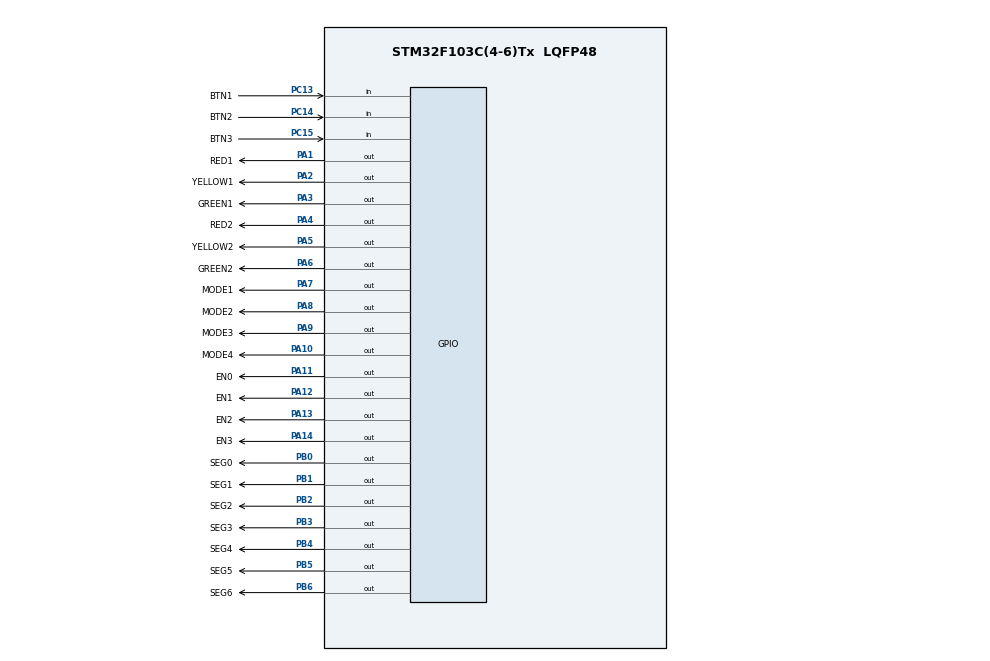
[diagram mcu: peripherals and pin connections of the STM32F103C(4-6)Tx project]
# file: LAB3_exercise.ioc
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Mcu.Family=STM32F1
Mcu.Name=STM32F103C(4-6)Tx
Mcu.Package=LQFP48
NVIC.PriorityGroup=NVIC_PRIORITYGROUP_4
NVIC.TIM2_IRQn=true\:0\:0\:false\:false\:true\:true\:true
PA1.GPIO_Label=RED1
PA1.Signal=GPIO_Output
PA10.GPIO_Label=MODE4
PA10.Signal=GPIO_Output
PA11.GPIO_Label=EN0
PA11.Signal=GPIO_Output
PA12.GPIO_Label=EN1
PA12.Signal=GPIO_Output
PA13.GPIO_Label=EN2
PA13.Signal=GPIO_Output
PA14.GPIO_Label=EN3
PA14.Signal=GPIO_Output
PA2.GPIO_Label=YELLOW1
PA2.Signal=GPIO_Output
PA3.GPIO_Label=GREEN1
PA3.Signal=GPIO_Output
PA4.GPIO_Label=RED2
PA4.Signal=GPIO_Output
PA5.GPIO_Label=YELLOW2
PA5.Signal=GPIO_Output
PA6.GPIO_Label=GREEN2
PA6.Signal=GPIO_Output
PA7.GPIO_Label=MODE1
PA7.Signal=GPIO_Output
PA8.GPIO_Label=MODE2
PA8.Signal=GPIO_Output
PA9.GPIO_Label=MODE3
PA9.Signal=GPIO_Output
PB0.GPIO_Label=SEG0
PB0.Signal=GPIO_Output
PB1.GPIO_Label=SEG1
PB1.Signal=GPIO_Output
PB2.GPIO_Label=SEG2
PB2.Signal=GPIO_Output
PB3.GPIO_Label=SEG3
PB3.Signal=GPIO_Output
PB4.GPIO_Label=SEG4
PB4.Signal=GPIO_Output
PB5.GPIO_Label=SEG5
PB5.Signal=GPIO_Output
PB6.GPIO_Label=SEG6
PB6.Signal=GPIO_Output
PC13-TAMPER-RTC.GPIO_Label=BTN1
PC13-TAMPER-RTC.GPIO_PuPd=GPIO_PULLUP
PC13-TAMPER-RTC.Signal=GPIO_Input
PC14-OSC32_IN.GPIO_Label=BTN2
PC14-OSC32_IN.GPIO_PuPd=GPIO_PULLUP
PC14-OSC32_IN.Signal=GPIO_Input
PC15-OSC32_OUT.GPIO_Label=BTN3
PC15-OSC32_OUT.GPIO_PuPd=GPIO_PULLUP
PC15-OSC32_OUT.Signal=GPIO_Input
ProjectManager.HeapSize=0x200
ProjectManager.StackSize=0x400
ProjectManager.TargetToolchain=STM32CubeIDE
RCC.APB1Freq_Value=8000000
RCC.APB2Freq_Value=8000000
TIM2.Period=9
TIM2.Prescaler=7999
VP_SYS_VS_ND.Mode=No_Debug
VP_TIM2_VS_ClockSourceINT.Mode=Internal
board=custom

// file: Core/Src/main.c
/* USER CODE BEGIN Header */
/**
  ******************************************************************************
  * @file           : main.c
  * @brief          : Main program body
  ******************************************************************************
  * @attention
  *
  * <h2><center>&copy; Copyright (c) 2023 STMicroelectronics.
  * All rights reserved.</center></h2>
  *
  * This software component is licensed by ST under BSD 3-Clause license,
  * the "License"; You may not use this file except in compliance with the
  * License. You may obtain a copy of the License at:
  *                        opensource.org/licenses/BSD-3-Clause
  *
  ******************************************************************************
  */
/* USER CODE END Header */
#include "main.h"

/* USER CODE BEGIN Includes */
#include "button.h"
#include "fsm.h"
#include "global.h"
#include "led7SEG.h"
#include "software_timer.h"
#include "led_control.h"
/* USER CODE END Includes */

TIM_HandleTypeDef htim2;

void SystemClock_Config(void);
static void MX_GPIO_Init(void);
static void MX_TIM2_Init(void);

int main(void)
{

  /* MCU Configuration--------------------------------------------------------*/

  /* Reset of all peripherals, Initializes the Flash interface and the Systick. */
  HAL_Init();

  /* Configure the system clock */
  SystemClock_Config();

  /* Initialize all configured peripherals */
  MX_GPIO_Init();
  MX_TIM2_Init();
  /* USER CODE BEGIN 2 */
  HAL_TIM_Base_Start_IT(&htim2);
  /* USER CODE END 2 */

  /* Infinite loop */
  /* USER CODE BEGIN WHILE */

  //initial function: RESET ALL
  HAL_GPIO_WritePin(GPIOA, MODE1_Pin | MODE2_Pin | MODE3_Pin |MODE4_Pin, 0);
  reset7SEG();
  resetLight();
  setTimer(2, 2); //timer for update value count down timer
  setTimer(3, 3); // 7 segment led
  while (1)
  {
    /* USER CODE END WHILE */
	  if(timer_flag[2] == 1){
		  setTimer(2, 100);
		  updateBuffer(timerTraffic1, timerTraffic2);
	  }
	  auto_switch_7SEG();
	  fsm_auto_run();
	  fsm_mod_run();

  }
}

void SystemClock_Config(void)
{
  RCC_OscInitTypeDef RCC_OscInitStruct = {0};
  RCC_ClkInitTypeDef RCC_ClkInitStruct = {0};

  /** Initializes the RCC Oscillators according to the specified parameters
  * in the RCC_OscInitTypeDef structure.
  */
  RCC_OscInitStruct.OscillatorType = RCC_OSCILLATORTYPE_HSI;
  RCC_OscInitStruct.HSIState = RCC_HSI_ON;
  RCC_OscInitStruct.HSICalibrationValue = RCC_HSICALIBRATION_DEFAULT;
  RCC_OscInitStruct.PLL.PLLState = RCC_PLL_NONE;
  if (HAL_RCC_OscConfig(&RCC_OscInitStruct) != HAL_OK)
  {
    Error_Handler();
  }
  /** Initializes the CPU, AHB and APB buses clocks
  */
  RCC_ClkInitStruct.ClockType = RCC_CLOCKTYPE_HCLK|RCC_CLOCKTYPE_SYSCLK
                              |RCC_CLOCKTYPE_PCLK1|RCC_CLOCKTYPE_PCLK2;
  RCC_ClkInitStruct.SYSCLKSource = RCC_SYSCLKSOURCE_HSI;
  RCC_ClkInitStruct.AHBCLKDivider = RCC_SYSCLK_DIV1;
  RCC_ClkInitStruct.APB1CLKDivider = RCC_HCLK_DIV1;
  RCC_ClkInitStruct.APB2CLKDivider = RCC_HCLK_DIV1;

  if (HAL_RCC_ClockConfig(&RCC_ClkInitStruct, FLASH_LATENCY_0) != HAL_OK)
  {
    Error_Handler();
  }
}

static void MX_TIM2_Init(void)
{

  TIM_ClockConfigTypeDef sClockSourceConfig = {0};
  TIM_MasterConfigTypeDef sMasterConfig = {0};

  htim2.Instance = TIM2;
  htim2.Init.Prescaler = 7999;
  htim2.Init.CounterMode = TIM_COUNTERMODE_UP;
  htim2.Init.Period = 9;
  htim2.Init.ClockDivision = TIM_CLOCKDIVISION_DIV1;
  htim2.Init.AutoReloadPreload = TIM_AUTORELOAD_PRELOAD_DISABLE;
  if (HAL_TIM_Base_Init(&htim2) != HAL_OK)
  {
    Error_Handler();
  }
  sClockSourceConfig.ClockSource = TIM_CLOCKSOURCE_INTERNAL;
  if (HAL_TIM_ConfigClockSource(&htim2, &sClockSourceConfig) != HAL_OK)
  {
    Error_Handler();
  }
  sMasterConfig.MasterOutputTrigger = TIM_TRGO_RESET;
  sMasterConfig.MasterSlaveMode = TIM_MASTERSLAVEMODE_DISABLE;
  if (HAL_TIMEx_MasterConfigSynchronization(&htim2, &sMasterConfig) != HAL_OK)
  {
    Error_Handler();
  }

}

static void MX_GPIO_Init(void)
{
  GPIO_InitTypeDef GPIO_InitStruct = {0};

  /* GPIO Ports Clock Enable */
  __HAL_RCC_GPIOC_CLK_ENABLE();
  __HAL_RCC_GPIOA_CLK_ENABLE();
  __HAL_RCC_GPIOB_CLK_ENABLE();

  /*Configure GPIO pin Output Level */
  HAL_GPIO_WritePin(GPIOA, RED1_Pin|YELLOW1_Pin|GREEN1_Pin|RED2_Pin
                          |YELLOW2_Pin|GREEN2_Pin|MODE1_Pin|MODE2_Pin
                          |MODE3_Pin|MODE4_Pin|EN0_Pin|EN1_Pin
                          |EN2_Pin|EN3_Pin, GPIO_PIN_RESET);

  /*Configure GPIO pin Output Level */
  HAL_GPIO_WritePin(GPIOB, SEG0_Pin|SEG1_Pin|SEG2_Pin|SEG3_Pin
                          |SEG4_Pin|SEG5_Pin|SEG6_Pin, GPIO_PIN_RESET);

  /*Configure GPIO pins : BTN1_Pin BTN2_Pin BTN3_Pin */
  GPIO_InitStruct.Pin = BTN1_Pin|BTN2_Pin|BTN3_Pin;
  GPIO_InitStruct.Mode = GPIO_MODE_INPUT;
  GPIO_InitStruct.Pull = GPIO_PULLUP;
  HAL_GPIO_Init(GPIOC, &GPIO_InitStruct);

  /*Configure GPIO pins : RED1_Pin YELLOW1_Pin GREEN1_Pin RED2_Pin
                           YELLOW2_Pin GREEN2_Pin MODE1_Pin MODE2_Pin
                           MODE3_Pin MODE4_Pin EN0_Pin EN1_Pin
                           EN2_Pin EN3_Pin */
  GPIO_InitStruct.Pin = RED1_Pin|YELLOW1_Pin|GREEN1_Pin|RED2_Pin
                          |YELLOW2_Pin|GREEN2_Pin|MODE1_Pin|MODE2_Pin
                          |MODE3_Pin|MODE4_Pin|EN0_Pin|EN1_Pin
                          |EN2_Pin|EN3_Pin;
  GPIO_InitStruct.Mode = GPIO_MODE_OUTPUT_PP;
  GPIO_InitStruct.Pull = GPIO_NOPULL;
  GPIO_InitStruct.Speed = GPIO_SPEED_FREQ_LOW;
  HAL_GPIO_Init(GPIOA, &GPIO_InitStruct);

  /*Configure GPIO pins : SEG0_Pin SEG1_Pin SEG2_Pin SEG3_Pin
                           SEG4_Pin SEG5_Pin SEG6_Pin */
  GPIO_InitStruct.Pin = SEG0_Pin|SEG1_Pin|SEG2_Pin|SEG3_Pin
                          |SEG4_Pin|SEG5_Pin|SEG6_Pin;
  GPIO_InitStruct.Mode = GPIO_MODE_OUTPUT_PP;
  GPIO_InitStruct.Pull = GPIO_NOPULL;
  GPIO_InitStruct.Speed = GPIO_SPEED_FREQ_LOW;
  HAL_GPIO_Init(GPIOB, &GPIO_InitStruct);

}

/* USER CODE BEGIN 4 */
void HAL_TIM_PeriodElapsedCallback(TIM_HandleTypeDef *htim){
	timerRun();
	getKeyInput();
}
/* USER CODE END 4 */

void Error_Handler(void)
{
  __disable_irq();
  while (1)
  {
  }
}

/************************ (C) COPYRIGHT STMicroelectronics *****END OF FILE****/
